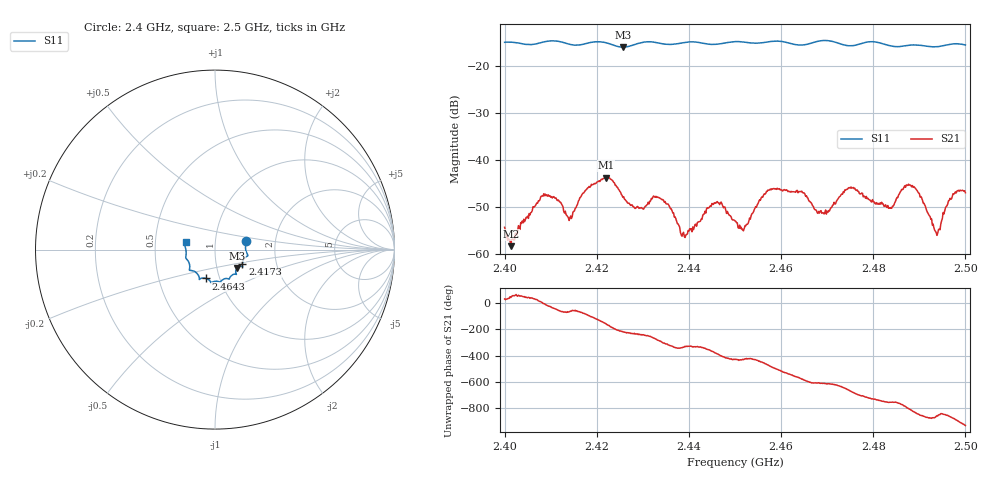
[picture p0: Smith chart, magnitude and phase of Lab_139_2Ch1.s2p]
# Hz S RI R 50
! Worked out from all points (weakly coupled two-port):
!   601 points, 2.4 GHz to 2.5 GHz, reference 50 ohm
!   highest |S21| = -43.66 dB at 2.422 GHz (marker M1); lowest = -58.3 dB at 2.4013 GHz (marker M2)
!   lowest |S11| = -15.9 dB at 2.4257 GHz (marker M3), VSWR 1.38, Z = 62.5 - j13.1 ohm
!   |S11| at or under -10 dB: start of sweep to end of sweep
!   S12 and S22 are empty: the file has one direction only
!   S11 on the Smith chart (normalised r, x): 2.4 GHz: 1.41, +0.14; 2.4173 GHz: 1.34, -0.23; 2.4643 GHz: 0.86, -0.28; 2.5 GHz: 0.72, +0.06
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2.4e9  0.1731 0.0497  0.00165 0.00102  0 0  0 0
2.401333e9  0.1751 0.0445  0.000905 0.000821  0 0  0 0
2.408333e9  0.1795 -0.0237  0.00415 -0.000228  0 0  0 0
2.414167e9  0.1644 -0.0479  0.00108 -0.0022  0 0  0 0
2.416667e9  0.1529 -0.0746  0.00136 -0.00397  0 0  0 0
2.417333e9  0.1523 -0.082  0.000784 -0.00455  0 0  0 0
2.422e9  0.1511 -0.0942  -0.00607 -0.00251  0 0  0 0
2.425667e9  0.1227 -0.1024  -0.00319 0.00247  0 0  0 0
2.433333e9  0.1126 -0.1366  0.000964 0.00391  0 0  0 0
2.438833e9  0.0813 -0.1588  0.00158 0.000675  0 0  0 0
2.445833e9  0.0486 -0.1644  0.00326 -0.00125  0 0  0 0
2.45e9  0.0296 -0.1809  0.000753 -0.00214  0 0  0 0
2.452e9  0.0231 -0.1794  0.00069 -0.00175  0 0  0 0
2.4575e9  -0.0163 -0.1822  -0.00237 -0.00422  0 0  0 0
2.464333e9  -0.0504 -0.1606  -0.00375 0.00275  0 0  0 0
2.466667e9  -0.0762 -0.1599  -0.00128 0.00321  0 0  0 0
2.475167e9  -0.1084 -0.125  0.00356 0.0038  0 0  0 0
2.483333e9  -0.1408 -0.0895  0.00245 -0.00188  0 0  0 0
2.4885e9  -0.1616 -0.0484  -0.00119 -0.00525  0 0  0 0
2.494e9  -0.162 -0.00122  -0.0013 -0.00107  0 0  0 0
2.496833e9  -0.1699 0.0255  -0.00328 -0.00203  0 0  0 0
2.5e9  -0.1635 0.0421  -0.00379 0.00246  0 0  0 0
